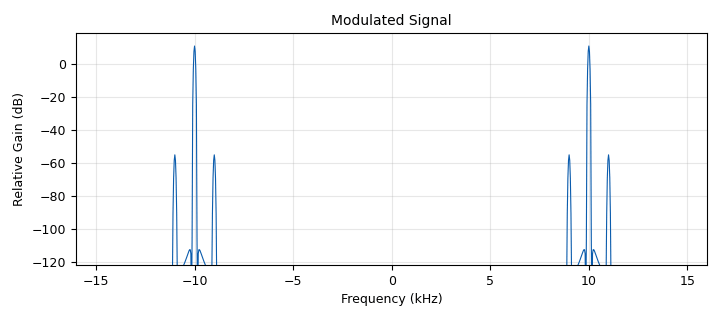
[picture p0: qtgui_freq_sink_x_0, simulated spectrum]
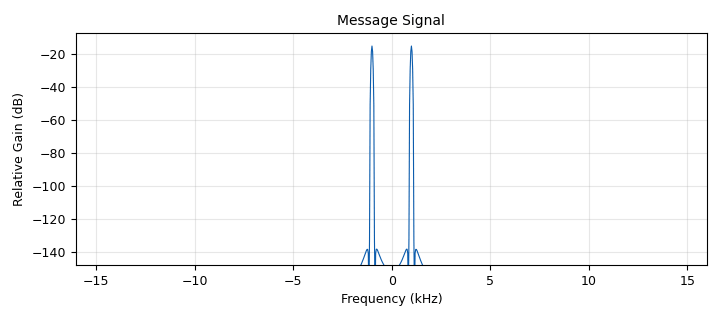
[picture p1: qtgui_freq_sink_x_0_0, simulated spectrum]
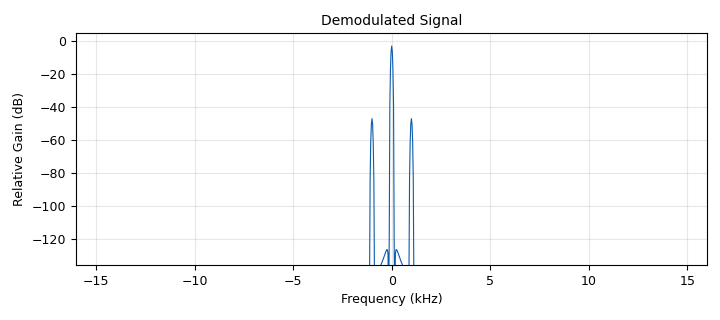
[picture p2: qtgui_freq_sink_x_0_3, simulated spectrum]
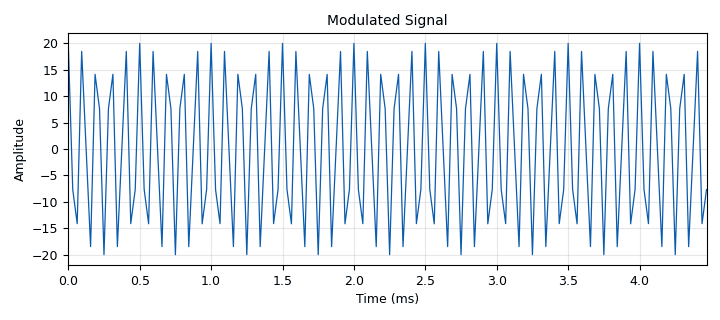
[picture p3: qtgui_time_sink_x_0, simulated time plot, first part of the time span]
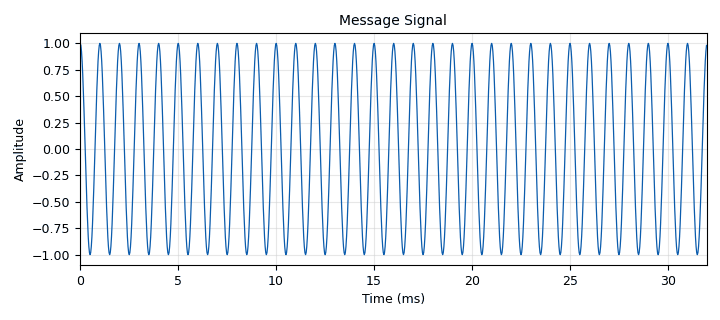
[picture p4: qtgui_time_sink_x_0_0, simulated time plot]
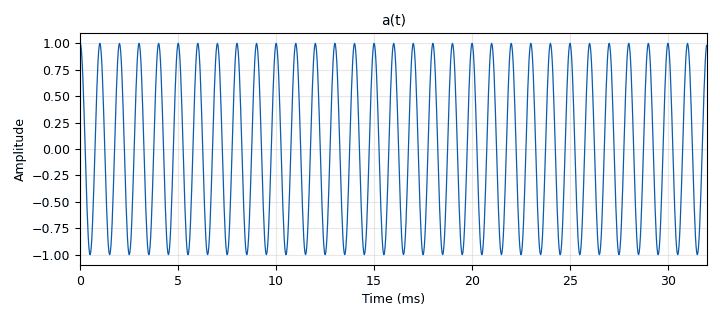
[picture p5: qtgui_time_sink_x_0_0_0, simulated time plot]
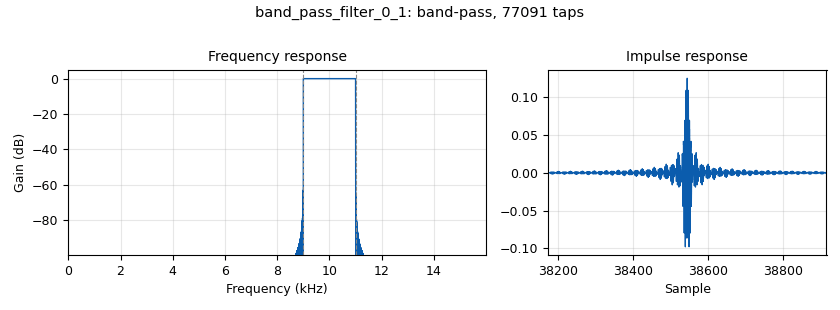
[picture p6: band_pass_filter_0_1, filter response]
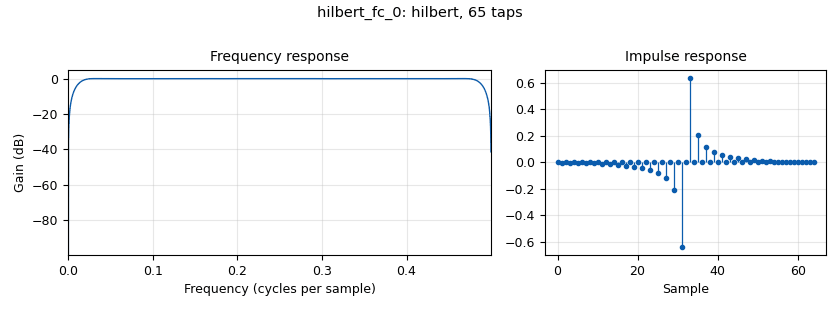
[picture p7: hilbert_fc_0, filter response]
options:
  parameters:
    author: shashank
    generate_options: qt_gui
    id: nbfm
    output_language: python
    title: nbfm
  states: {}

blocks:
- name: beta
  id: variable
  parameters:
    value: (kf*msg_amplitude)/(2*3.14*fm)
  states: {}
- name: carrier_amplitude
  id: variable
  parameters:
    value: '20'
  states: {}
- name: fc
  id: variable
  parameters:
    value: '10000'
  states: {}
- name: fm
  id: variable
  parameters:
    value: '1000'
  states: {}
- name: kf
  id: variable
  parameters:
    value: '0.001'
  states: {}
- name: msg_amplitude
  id: variable
  parameters:
    value: '1'
  states: {}
- name: samp_rate
  id: variable
  parameters:
    value: '32000'
  states: {}
- name: analog_nbfm_rx_0
  id: analog_nbfm_rx
  parameters:
    audio_rate: samp_rate
    max_dev: 5e3
    quad_rate: samp_rate
    tau: '75e-6'
  states: {}
- name: analog_sig_source_x_0
  id: analog_sig_source_x
  parameters:
    amp: msg_amplitude
    freq: fm
    offset: '0'
    phase: '0'
    samp_rate: samp_rate
    type: float
    waveform: analog.GR_COS_WAVE
  states: {}
- name: analog_sig_source_x_0_0
  id: analog_sig_source_x
  parameters:
    amp: carrier_amplitude
    freq: fc
    offset: '0'
    phase: '0'
    samp_rate: samp_rate
    type: float
    waveform: analog.GR_COS_WAVE
  states: {}
- name: band_pass_filter_0_1
  id: band_pass_filter
  parameters:
    decim: '1'
    gain: '1'
    high_cutoff_freq: fc+fm
    low_cutoff_freq: fc-fm
    samp_rate: samp_rate
    type: fir_filter_ccf
    width: '1'
    win: firdes.WIN_HAMMING
  states: {}
- name: blocks_add_xx_0
  id: blocks_add_xx
  parameters:
    type: float
  states: {}
- name: blocks_complex_to_float_0
  id: blocks_complex_to_float
  parameters: {}
  states: {}
- name: blocks_float_to_complex_0
  id: blocks_float_to_complex
  parameters: {}
  states: {}
- name: blocks_integrate_xx_0
  id: blocks_integrate_xx
  parameters:
    decim: '1'
    type: float
  states: {}
- name: blocks_multiply_const_vxx_0
  id: blocks_multiply_const_vxx
  parameters:
    const: kf
    type: float
  states: {}
- name: blocks_multiply_const_vxx_1
  id: blocks_multiply_const_vxx
  parameters:
    const: '-1'
    type: float
  states: {}
- name: blocks_multiply_xx_0
  id: blocks_multiply_xx
  parameters:
    type: float
  states: {}
- name: blocks_null_sink_0
  id: blocks_null_sink
  parameters:
    type: float
  states: {}
- name: blocks_throttle_0
  id: blocks_throttle
  parameters:
    samples_per_second: samp_rate
    type: float
  states: {}
- name: hilbert_fc_0
  id: hilbert_fc
  parameters:
    num_taps: '65'
    win: firdes.WIN_HAMMING
  states: {}
- name: low_pass_filter_0
  id: low_pass_filter
  parameters:
    cutoff_freq: fm
    decim: '1'
    gain: '1'
    samp_rate: samp_rate
    type: fir_filter_fff
    width: '1'
    win: firdes.WIN_HAMMING
  states: {}
- name: qtgui_freq_sink_x_0
  id: qtgui_freq_sink_x
  parameters:
    autoscale: 'True'
    bw: samp_rate
    ctrlpanel: 'True'
    fc: '0'
    fftsize: '1024'
    grid: 'True'
    name: '"Modulated Signal"'
    type: float
    wintype: firdes.WIN_BLACKMAN_hARRIS
  states: {}
- name: qtgui_freq_sink_x_0_0
  id: qtgui_freq_sink_x
  parameters:
    autoscale: 'True'
    bw: samp_rate
    ctrlpanel: 'True'
    fc: '0'
    fftsize: '1024'
    grid: 'True'
    name: '"Message Signal"'
    type: float
    wintype: firdes.WIN_BLACKMAN_hARRIS
  states: {}
- name: qtgui_freq_sink_x_0_3
  id: qtgui_freq_sink_x
  parameters:
    autoscale: 'True'
    bw: samp_rate
    ctrlpanel: 'True'
    fc: '0'
    fftsize: '1024'
    grid: 'True'
    name: '"Demodulated Signal"'
    type: float
    wintype: firdes.WIN_BLACKMAN_hARRIS
  states: {}
- name: qtgui_time_sink_x_0
  id: qtgui_time_sink_x
  parameters:
    autoscale: 'True'
    ctrlpanel: 'True'
    grid: 'True'
    name: '"Modulated Signal"'
    size: '1024'
    srate: samp_rate
    type: float
  states: {}
- name: qtgui_time_sink_x_0_0
  id: qtgui_time_sink_x
  parameters:
    autoscale: 'True'
    ctrlpanel: 'True'
    grid: 'True'
    name: '"Message Signal"'
    size: '1024'
    srate: samp_rate
    type: float
  states: {}
- name: qtgui_time_sink_x_0_0_0
  id: qtgui_time_sink_x
  parameters:
    autoscale: 'True'
    ctrlpanel: 'True'
    grid: 'True'
    name: '"a(t)"'
    size: '1024'
    srate: samp_rate
    type: float
  states: {}
- name: qtgui_time_sink_x_0_4
  id: qtgui_time_sink_x
  parameters:
    autoscale: 'True'
    ctrlpanel: 'True'
    grid: 'True'
    name: '"Demodulated Signal"'
    size: '1024'
    srate: samp_rate
    type: float
  states: {}

connections:
- [analog_nbfm_rx_0, '0', low_pass_filter_0, '0']
- [analog_sig_source_x_0, '0', blocks_integrate_xx_0, '0']
- [analog_sig_source_x_0, '0', qtgui_freq_sink_x_0_0, '0']
- [analog_sig_source_x_0, '0', qtgui_time_sink_x_0_0, '0']
- [analog_sig_source_x_0_0, '0', blocks_add_xx_0, '1']
- [analog_sig_source_x_0_0, '0', hilbert_fc_0, '0']
- [band_pass_filter_0_1, '0', analog_nbfm_rx_0, '0']
- [blocks_add_xx_0, '0', blocks_throttle_0, '0']
- [blocks_complex_to_float_0, '0', blocks_null_sink_0, '0']
- [blocks_complex_to_float_0, '1', blocks_multiply_xx_0, '1']
- [blocks_float_to_complex_0, '0', band_pass_filter_0_1, '0']
- [blocks_integrate_xx_0, '0', blocks_multiply_const_vxx_0, '0']
- [blocks_integrate_xx_0, '0', qtgui_time_sink_x_0_0_0, '0']
- [blocks_multiply_const_vxx_0, '0', blocks_multiply_xx_0, '0']
- [blocks_multiply_const_vxx_1, '0', blocks_add_xx_0, '0']
- [blocks_multiply_xx_0, '0', blocks_multiply_const_vxx_1, '0']
- [blocks_throttle_0, '0', blocks_float_to_complex_0, '0']
- [blocks_throttle_0, '0', qtgui_freq_sink_x_0, '0']
- [blocks_throttle_0, '0', qtgui_time_sink_x_0, '0']
- [hilbert_fc_0, '0', blocks_complex_to_float_0, '0']
- [low_pass_filter_0, '0', qtgui_freq_sink_x_0_3, '0']
- [low_pass_filter_0, '0', qtgui_time_sink_x_0_4, '0']

metadata:
  file_format: 1
